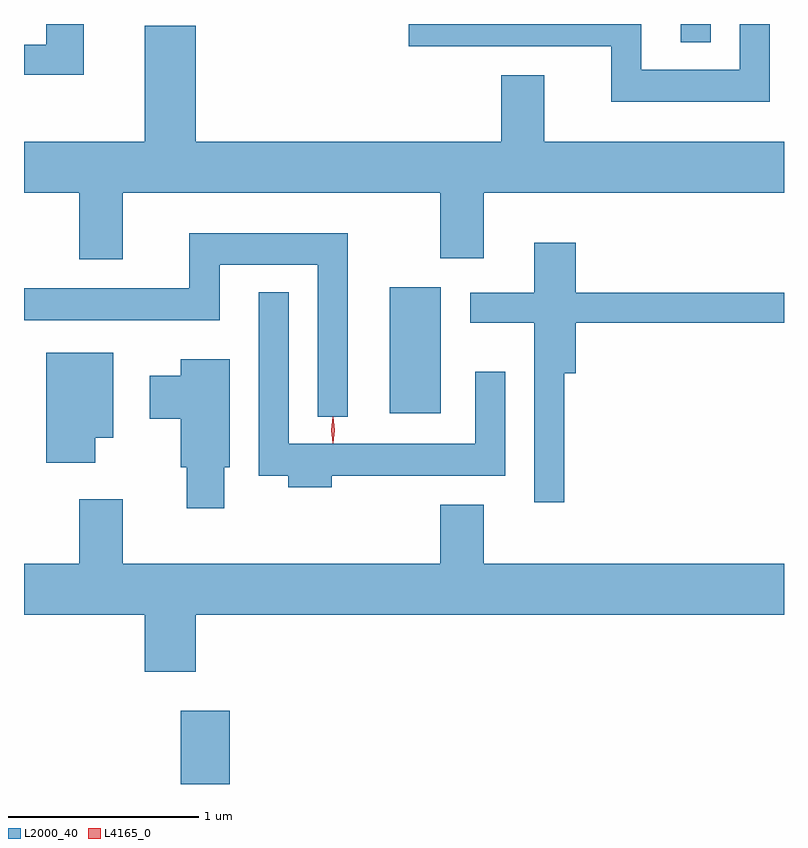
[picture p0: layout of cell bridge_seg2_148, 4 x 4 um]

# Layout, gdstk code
import gdstk
lib = gdstk.Library(unit=1e-6, precision=1e-09)
def R(c, l, rs):  # rectangles x0, y0, x1, y1
    for r in rs: c.add(gdstk.rectangle(r[:2], r[2:], *l))
def P(c, l, *ps):  # polygons
    for p in ps: c.add(gdstk.Polygon(p, *l))
L2000_40 = (2000, 40)
L4165_0 = (4165, 0)

bridge_seg2_148 = lib.new_cell('bridge_seg2_148')
R(bridge_seg2_148, L2000_40, [(1074.406,1102.924,1074.664,1103.309), (1075.506,1104.876,1075.774,1105.539), (1077.036,1106.828,1077.194,1106.924)])
P(bridge_seg2_148, L2000_40, [(1073.894,1106.924),(1073.696,1106.924),(1073.696,1106.814),(1073.58,1106.814),(1073.58,1106.656),(1073.894,1106.656)],
  [(1077.504,1106.924),(1077.346,1106.924),(1077.346,1106.684),(1076.829,1106.684),(1076.829,1106.924),(1075.606,1106.924),(1075.606,1106.806),(1076.671,1106.806),(1076.671,1106.516),(1077.504,1106.516)],
  [(1074.099,1106.036),(1075.771,1106.036),(1075.771,1105.691),(1075.999,1105.691),(1075.999,1106.036),(1077.58,1106.036),(1077.58,1106.304),(1076.319,1106.304),(1076.319,1106.654),(1076.091,1106.654),(1076.091,1106.304),(1074.484,1106.304),(1074.484,1106.914),(1074.216,1106.914),(1074.216,1106.304),(1073.58,1106.304),(1073.58,1106.036),(1073.871,1106.036),(1073.871,1105.686),(1074.099,1105.686)],
  [(1075.284,1105.824),(1074.451,1105.824),(1074.451,1105.534),(1073.58,1105.534),(1073.58,1105.366),(1074.609,1105.366),(1074.609,1105.656),(1075.126,1105.656),(1075.126,1104.858),(1075.284,1104.858)],
  [(1076.424,1105.086),(1076.484,1105.086),(1076.484,1105.351),(1077.58,1105.351),(1077.58,1105.509),(1076.484,1105.509),(1076.484,1105.774),(1076.266,1105.774),(1076.266,1105.509),(1075.928,1105.509),(1075.928,1105.351),(1076.266,1105.351),(1076.266,1104.408),(1076.424,1104.408)],
  [(1075.199,1104.546),(1076.114,1104.546),(1076.114,1105.093),(1075.956,1105.093),(1075.956,1104.714),(1074.974,1104.714),(1074.974,1105.513),(1074.816,1105.513),(1074.816,1104.546),(1074.971,1104.546),(1074.971,1104.486),(1075.199,1104.486)],
  [(1073.954,1104.746),(1074.049,1104.746),(1074.049,1105.194),(1073.696,1105.194),(1073.696,1104.616),(1073.954,1104.616)],
  [(1074.634,1104.591),(1074.664,1104.591),(1074.664,1105.159),(1074.406,1105.159),(1074.406,1105.074),(1074.241,1105.074),(1074.241,1104.846),(1074.406,1104.846),(1074.406,1104.591),(1074.436,1104.591),(1074.436,1104.376),(1074.634,1104.376)],
  [(1074.484,1103.816),(1077.58,1103.816),(1077.58,1104.084),(1075.999,1104.084),(1075.999,1104.394),(1075.771,1104.394),(1075.771,1104.084),(1074.099,1104.084),(1074.099,1104.424),(1073.871,1104.424),(1073.871,1104.084),(1073.58,1104.084),(1073.58,1103.816),(1074.216,1103.816),(1074.216,1103.516),(1074.484,1103.516)])
P(bridge_seg2_148, L4165_0, [(1075.206,1104.717),(1075.206,1104.717),(1075.196,1104.787),(1075.206,1104.856),(1075.206,1104.856),(1075.207,1104.856),(1075.216,1104.787),(1075.207,1104.717)])

lib.write_gds('bridge_seg2_148.gds')
